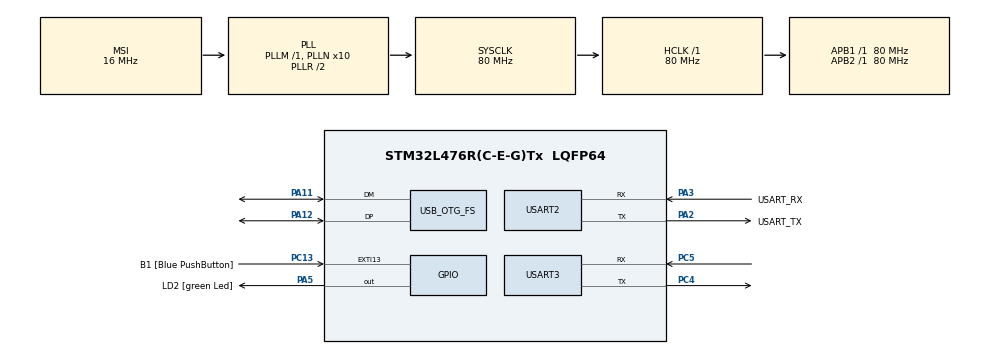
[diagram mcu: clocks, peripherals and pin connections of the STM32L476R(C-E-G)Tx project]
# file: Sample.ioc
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Mcu.Family=STM32L4
Mcu.Name=STM32L476R(C-E-G)Tx
Mcu.Package=LQFP64
NVIC.OTG_FS_IRQn=true\:0\:0\:false\:false\:true
NVIC.PriorityGroup=NVIC_PRIORITYGROUP_4
NVIC.USART3_IRQn=true\:0\:0\:false\:false\:true
PA11.Mode=Device_Only
PA11.Signal=USB_OTG_FS_DM
PA12.Mode=Device_Only
PA12.Signal=USB_OTG_FS_DP
PA13.GPIO_Label=TMS
PA13.Mode=Trace_Asynchronous_SW
PA13.Signal=SYS_JTMS-SWDIO
PA14.GPIO_Label=TCK
PA14.Mode=Trace_Asynchronous_SW
PA14.Signal=SYS_JTCK-SWCLK
PA2.GPIO_Label=USART_TX
PA2.GPIO_Mode=GPIO_MODE_AF_PP
PA2.GPIO_PuPd=GPIO_NOPULL
PA2.GPIO_Speed=GPIO_SPEED_FREQ_VERY_HIGH
PA2.Mode=Asynchronous
PA2.Signal=USART2_TX
PA3.GPIO_Label=USART_RX
PA3.GPIO_Mode=GPIO_MODE_AF_PP
PA3.GPIO_PuPd=GPIO_NOPULL
PA3.GPIO_Speed=GPIO_SPEED_FREQ_VERY_HIGH
PA3.Mode=Asynchronous
PA3.Signal=USART2_RX
PA5.GPIO_Label=LD2 [green Led]
PA5.GPIO_ModeDefaultOutputPP=GPIO_MODE_OUTPUT_PP
PA5.GPIO_PuPd=GPIO_NOPULL
PA5.GPIO_Speed=GPIO_SPEED_FREQ_LOW
PA5.Signal=GPIO_Output
PB3.GPIO_Label=SWO
PB3.Mode=Trace_Asynchronous_SW
PB3.Signal=SYS_JTDO-SWO
PC13.GPIO_Label=B1 [Blue PushButton]
PC13.GPIO_ModeDefaultEXTI=GPIO_MODE_IT_FALLING
PC13.GPIO_PuPd=GPIO_NOPULL
PC13.Signal=GPXTI13
PC14/OSC32_IN.Mode=LSE-External-Oscillator
PC14/OSC32_IN.Signal=RCC_OSC32_IN
PC15/OSC32_OUT.Mode=LSE-External-Oscillator
PC15/OSC32_OUT.Signal=RCC_OSC32_OUT
PC4.Mode=Asynchronous
PC4.Signal=USART3_TX
PC5.Mode=Asynchronous
PC5.Signal=USART3_RX
PH0/OSC_IN.Signal=RCC_OSC_IN
PH1/OSC_OUT.Signal=RCC_OSC_OUT
ProjectManager.HeapSize=0x800
ProjectManager.StackSize=0x800
ProjectManager.TargetToolchain=TrueSTUDIO
RCC.ADCFreq_Value=96000000
RCC.AHBFreq_Value=80000000
RCC.APB1Freq_Value=80000000
RCC.APB1TimFreq_Value=80000000
RCC.APB2Freq_Value=80000000
RCC.APB2TimFreq_Value=80000000
RCC.CortexFreq_Value=80000000
RCC.HCLKFreq_Value=80000000
RCC.HSE_VALUE=8000000
RCC.HSI_VALUE=16000000
RCC.MSIClockRange=RCC_MSIRANGE_8
RCC.MSI_VALUE=16000000
RCC.PLLN=10
RCC.PLLSAI1N=12
RCC.PLLSAI1Q=RCC_PLLQ_DIV4
RCC.PREFETCH_ENABLE=1
RCC.RTCClockSelection=RCC_RTCCLKSOURCE_LSE
RCC.SYSCLKFreq_VALUE=80000000
RCC.SYSCLKSource=RCC_SYSCLKSOURCE_PLLCLK
RCC.USBFreq_Value=48000000
RCC.VCOOutputFreq_Value=160000000
RTC.Format=RTC_FORMAT_BIN
USART2.WordLength=UART_WORDLENGTH_8B
USART3.WordLength=UART_WORDLENGTH_8B
USB_DEVICE.CLASS_NAME_FS=DFU
USB_DEVICE.VirtualModeFS=Dfu_FS
USB_OTG_FS.VirtualMode=Device_Only
USB_OTG_FS.vbus_sensing_enable=DISABLE
VP_RNG_VS_RNG.Mode=RNG_Activate
VP_RTC_VS_RTC_Activate.Mode=RTC_Enabled
VP_RTC_VS_RTC_Calendar.Mode=RTC_Calendar
VP_USB_DEVICE_VS_USB_DEVICE_DFU_FS.Mode=DFU_FS
board=NUCLEO-L476RG

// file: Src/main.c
/**
  ******************************************************************************
  * File Name          : main.c
  * Description        : Main program body
  ******************************************************************************
  *
  * Copyright (c) 2017 STMicroelectronics International N.V.
  * All rights reserved.
  *
  * Redistribution and use in source and binary forms, with or without
  * modification, are permitted, provided that the following conditions are met:
  *
  * 1. Redistribution of source code must retain the above copyright notice,
  *    this list of conditions and the following disclaimer.
  * 2. Redistributions in binary form must reproduce the above copyright notice,
  *    this list of conditions and the following disclaimer in the documentation
  *    and/or other materials provided with the distribution.
  * 3. Neither the name of STMicroelectronics nor the names of other
  *    contributors to this software may be used to endorse or promote products
  *    derived from this software without specific written permission.
  * 4. This software, including modifications and/or derivative works of this
  *    software, must execute solely and exclusively on microcontroller or
  *    microprocessor devices manufactured by or for STMicroelectronics.
  * 5. Redistribution and use of this software other than as permitted under
  *    this license is void and will automatically terminate your rights under
  *    this license.
  *
  * THIS SOFTWARE IS PROVIDED BY STMICROELECTRONICS AND CONTRIBUTORS "AS IS"
  * AND ANY EXPRESS, IMPLIED OR STATUTORY WARRANTIES, INCLUDING, BUT NOT
  * LIMITED TO, THE IMPLIED WARRANTIES OF MERCHANTABILITY, FITNESS FOR A
  * PARTICULAR PURPOSE AND NON-INFRINGEMENT OF THIRD PARTY INTELLECTUAL PROPERTY
  * RIGHTS ARE DISCLAIMED TO THE FULLEST EXTENT PERMITTED BY LAW. IN NO EVENT
  * SHALL STMICROELECTRONICS OR CONTRIBUTORS BE LIABLE FOR ANY DIRECT, INDIRECT,
  * INCIDENTAL, SPECIAL, EXEMPLARY, OR CONSEQUENTIAL DAMAGES (INCLUDING, BUT NOT
  * LIMITED TO, PROCUREMENT OF SUBSTITUTE GOODS OR SERVICES; LOSS OF USE, DATA,
  * OR PROFITS; OR BUSINESS INTERRUPTION) HOWEVER CAUSED AND ON ANY THEORY OF
  * LIABILITY, WHETHER IN CONTRACT, STRICT LIABILITY, OR TORT (INCLUDING
  * NEGLIGENCE OR OTHERWISE) ARISING IN ANY WAY OUT OF THE USE OF THIS SOFTWARE,
  * EVEN IF ADVISED OF THE POSSIBILITY OF SUCH DAMAGE.
  *
  ******************************************************************************
  */
#include "main.h"
#include "stm32l4xx_hal.h"
#include "usb_device.h"

/* USER CODE BEGIN Includes */
#include "socket.h"
#include "NTPClient.h"
#include "DiceCore.h"

/* USER CODE END Includes */

RNG_HandleTypeDef hrng;

RTC_HandleTypeDef hrtc;

UART_HandleTypeDef huart2;
UART_HandleTypeDef huart3;

/* USER CODE BEGIN PV */
/* Private variables ---------------------------------------------------------*/

/* USER CODE END PV */

void SystemClock_Config(void);
void Error_Handler(void);
static void MX_GPIO_Init(void);
static void MX_RNG_Init(void);
static void MX_RTC_Init(void);
static void MX_USART2_UART_Init(void);
static void MX_USART3_UART_Init(void);

/* USER CODE BEGIN PFP */
/* Private function prototypes -----------------------------------------------*/

/* USER CODE END PFP */

/* USER CODE BEGIN 0 */
#define CPU_CORE_FREQUENCY_HZ 800000000 /* CPU core frequency in Hz */
static void SWO_Init(uint32_t portBits, uint32_t cpuCoreFreqHz) {
//  uint32_t SWOSpeed = 4500000; /* default 2000k baud rate */
//  uint32_t SWOPrescaler = (cpuCoreFreqHz / SWOSpeed) - 1; /* SWOSpeed in Hz, note that cpuCoreFreqHz is expected to be match the CPU core clock */

  CoreDebug->DEMCR = CoreDebug_DEMCR_TRCENA_Msk; /* enable trace in core debug */
//  *((volatile unsigned *)(ITM_BASE + 0x400F0)) = 0x00000002; /* "Selected PIN Protocol Register": Select which protocol to use for trace output (2: SWO NRZ, 1: SWO Manchester encoding) */
//  *((volatile unsigned *)(ITM_BASE + 0x40010)) = SWOPrescaler; /* "Async Clock Prescaler Register". Scale the baud rate of the asynchronous output */
//  *((volatile unsigned *)(ITM_BASE + 0x00FB0)) = 0xC5ACCE55; /* ITM Lock Access Register, C5ACCE55 enables more write access to Control Register 0xE00 :: 0xFFC */
  ITM->TCR = ITM_TCR_TraceBusID_Msk | ITM_TCR_SWOENA_Msk | ITM_TCR_SYNCENA_Msk | ITM_TCR_ITMENA_Msk; /* ITM Trace Control Register */
  ITM->TPR = ITM_TPR_PRIVMASK_Msk; /* ITM Trace Privilege Register */
  ITM->TER = portBits; /* ITM Trace Enable Register. Enabled tracing on stimulus ports. One bit per stimulus port. */
  *((volatile unsigned *)(ITM_BASE + 0x01000)) = 0x400003FE; /* DWT_CTRL */
  *((volatile unsigned *)(ITM_BASE + 0x40304)) = 0x00000100; /* Formatter and Flush Control Register */
}

char* GetWifiResponse(FILE* wifiRd, char* response, uint32_t responseSize, uint32_t* responseLen, char* terminator, uint32_t timeout)
{
    fpos_t wifiRdPtr = 0;
    uint32_t deadline = HAL_GetTick() + timeout;
    char* result = NULL;
    uint32_t terminatorLen = strlen(terminator);
    if(responseSize < terminatorLen + 1) return NULL;
    *responseLen = 0;
    memset(response, 0x00, responseSize);

    do
    {
        if(fgets(&response[*responseLen], responseSize - *responseLen, wifiRd) == NULL)
        {
            fsetpos(wifiRd, &wifiRdPtr);
        }
        else
        {
            *responseLen = strlen(response);
        }

        //Exit criteria
        if((*responseLen >= terminatorLen) &&
           (!strcmp(&response[*responseLen - terminatorLen], terminator)))
        {
//            fprintf(stderr, "GetWifiResponse() found terminator.\r\n");
            result = response;
            break;
        }

        if(deadline <= HAL_GetTick())
        {
//            fprintf(stderr, "GetWifiResponse() timeout.\r\n");
            break;
        }

        if(*responseLen + 1 >= responseSize)
        {
//            fprintf(stderr, "GetWifiResponse() out of space.\r\n");
            break;
        }
    }
    while(1);

    return result;
}

/* USER CODE END 0 */

int main(void)
{

  /* USER CODE BEGIN 1 */
//  HAL_StatusTypeDef result;
  FILE* wifiWr = NULL;
  FILE* wifiRd = NULL;
  fpos_t wifiRdPtr = 0;
  char wifiRdBuf[2048] = {0};
  uint32_t wifiRdLen = 0;

  /* USER CODE END 1 */

  /* MCU Configuration----------------------------------------------------------*/

  /* Reset of all peripherals, Initializes the Flash interface and the Systick. */
  HAL_Init();

  /* Configure the system clock */
  SystemClock_Config();

  /* Initialize all configured peripherals */
  MX_GPIO_Init();
  MX_RNG_Init();
  MX_RTC_Init();
  MX_USART2_UART_Init();
  MX_USART3_UART_Init();
  MX_USB_DEVICE_Init();

  /* USER CODE BEGIN 2 */
  SWO_Init(0x1, CPU_CORE_FREQUENCY_HZ);
  wifiWr = fopen("wifi", "wb");
  wifiRd = fopen("wifi", "rb");

  printf("==========================\r\n");
  printf("    DICE APP: Sample! \r\n");
  printf("==========================\r\n");
#ifdef NDEBUG
  printf("DICE Certificate Bag(%lu):\r\n%s\r\n", DICERAMAREA->info.certBagLen, DICERAMAREA->info.certBag);
#endif

  fprintf(wifiWr, "ATE0\r\n");
  if(GetWifiResponse(wifiRd, wifiRdBuf, sizeof(wifiRdBuf), &wifiRdLen, "OK\r\n", 1000) != NULL)
  {
      printf("(%03d)\r\n%s", wifiRdLen, wifiRdBuf);
  }

  fprintf(wifiWr, "AT+CWLAP\r\n");
  if(GetWifiResponse(wifiRd, wifiRdBuf, sizeof(wifiRdBuf), &wifiRdLen, "OK\r\n", 10000) != NULL)
  {
      printf("(%03d)\r\n%s", wifiRdLen, wifiRdBuf);
  }
/*
  do
  {
      if(fgets(wifiRdBuf, sizeof(wifiRdBuf), wifiRd) != NULL)
      {
          if(strcmp(wifiRdBuf, "AT+CWLAP\r\n") && strcmp(wifiRdBuf, "\r\n") && strcmp(wifiRdBuf, "OK\r\n"))
          {
              printf("%s", wifiRdBuf);
          }
      }
      else
      {
          fsetpos(wifiRd, &wifiRdPtr);
      }
  }
  while(strcmp(wifiRdBuf, "OK\r\n"));
*/
  /* USER CODE END 2 */

  /* Infinite loop */
  while (1)
  {

  /* USER CODE BEGIN 3 */
      fprintf(stdout, "Hello stdio\r\n");
      fprintf(stderr, "Hello stderr\r\n");
      HAL_Delay(1000);
  }
  /* USER CODE END 3 */

}

/** System Clock Configuration
*/
void SystemClock_Config(void)
{

  RCC_OscInitTypeDef RCC_OscInitStruct;
  RCC_ClkInitTypeDef RCC_ClkInitStruct;
  RCC_PeriphCLKInitTypeDef PeriphClkInit;

    /**Initializes the CPU, AHB and APB busses clocks
    */
  RCC_OscInitStruct.OscillatorType = RCC_OSCILLATORTYPE_LSE|RCC_OSCILLATORTYPE_MSI;
  RCC_OscInitStruct.LSEState = RCC_LSE_ON;
  RCC_OscInitStruct.MSIState = RCC_MSI_ON;
  RCC_OscInitStruct.MSICalibrationValue = 0;
  RCC_OscInitStruct.MSIClockRange = RCC_MSIRANGE_8;
  RCC_OscInitStruct.PLL.PLLState = RCC_PLL_ON;
  RCC_OscInitStruct.PLL.PLLSource = RCC_PLLSOURCE_MSI;
  RCC_OscInitStruct.PLL.PLLM = 1;
  RCC_OscInitStruct.PLL.PLLN = 10;
  RCC_OscInitStruct.PLL.PLLP = RCC_PLLP_DIV7;
  RCC_OscInitStruct.PLL.PLLQ = RCC_PLLQ_DIV2;
  RCC_OscInitStruct.PLL.PLLR = RCC_PLLR_DIV2;
  if (HAL_RCC_OscConfig(&RCC_OscInitStruct) != HAL_OK)
  {
    Error_Handler();
  }

    /**Initializes the CPU, AHB and APB busses clocks
    */
  RCC_ClkInitStruct.ClockType = RCC_CLOCKTYPE_HCLK|RCC_CLOCKTYPE_SYSCLK
                              |RCC_CLOCKTYPE_PCLK1|RCC_CLOCKTYPE_PCLK2;
  RCC_ClkInitStruct.SYSCLKSource = RCC_SYSCLKSOURCE_PLLCLK;
  RCC_ClkInitStruct.AHBCLKDivider = RCC_SYSCLK_DIV1;
  RCC_ClkInitStruct.APB1CLKDivider = RCC_HCLK_DIV1;
  RCC_ClkInitStruct.APB2CLKDivider = RCC_HCLK_DIV1;

  if (HAL_RCC_ClockConfig(&RCC_ClkInitStruct, FLASH_LATENCY_4) != HAL_OK)
  {
    Error_Handler();
  }

  PeriphClkInit.PeriphClockSelection = RCC_PERIPHCLK_RTC|RCC_PERIPHCLK_USART2
                              |RCC_PERIPHCLK_USART3|RCC_PERIPHCLK_USB
                              |RCC_PERIPHCLK_RNG;
  PeriphClkInit.Usart2ClockSelection = RCC_USART2CLKSOURCE_PCLK1;
  PeriphClkInit.Usart3ClockSelection = RCC_USART3CLKSOURCE_PCLK1;
  PeriphClkInit.RTCClockSelection = RCC_RTCCLKSOURCE_LSE;
  PeriphClkInit.UsbClockSelection = RCC_USBCLKSOURCE_PLLSAI1;
  PeriphClkInit.RngClockSelection = RCC_RNGCLKSOURCE_PLLSAI1;
  PeriphClkInit.PLLSAI1.PLLSAI1Source = RCC_PLLSOURCE_MSI;
  PeriphClkInit.PLLSAI1.PLLSAI1M = 1;
  PeriphClkInit.PLLSAI1.PLLSAI1N = 12;
  PeriphClkInit.PLLSAI1.PLLSAI1P = RCC_PLLP_DIV7;
  PeriphClkInit.PLLSAI1.PLLSAI1Q = RCC_PLLQ_DIV4;
  PeriphClkInit.PLLSAI1.PLLSAI1R = RCC_PLLR_DIV2;
  PeriphClkInit.PLLSAI1.PLLSAI1ClockOut = RCC_PLLSAI1_48M2CLK;
  if (HAL_RCCEx_PeriphCLKConfig(&PeriphClkInit) != HAL_OK)
  {
    Error_Handler();
  }

    /**Configure LSE Drive Capability
    */
  __HAL_RCC_LSEDRIVE_CONFIG(RCC_LSEDRIVE_LOW);

    /**Configure the main internal regulator output voltage
    */
  if (HAL_PWREx_ControlVoltageScaling(PWR_REGULATOR_VOLTAGE_SCALE1) != HAL_OK)
  {
    Error_Handler();
  }

    /**Configure the Systick interrupt time
    */
  HAL_SYSTICK_Config(HAL_RCC_GetHCLKFreq()/1000);

    /**Configure the Systick
    */
  HAL_SYSTICK_CLKSourceConfig(SYSTICK_CLKSOURCE_HCLK);

    /**Enable MSI Auto calibration
    */
  HAL_RCCEx_EnableMSIPLLMode();

  /* SysTick_IRQn interrupt configuration */
  HAL_NVIC_SetPriority(SysTick_IRQn, 0, 0);
}

/* RNG init function */
static void MX_RNG_Init(void)
{

  hrng.Instance = RNG;
  if (HAL_RNG_Init(&hrng) != HAL_OK)
  {
    Error_Handler();
  }

}

/* RTC init function */
static void MX_RTC_Init(void)
{

  RTC_TimeTypeDef sTime;
  RTC_DateTypeDef sDate;

    /**Initialize RTC Only
    */
  hrtc.Instance = RTC;
  hrtc.Init.HourFormat = RTC_HOURFORMAT_24;
  hrtc.Init.AsynchPrediv = 127;
  hrtc.Init.SynchPrediv = 255;
  hrtc.Init.OutPut = RTC_OUTPUT_DISABLE;
  hrtc.Init.OutPutRemap = RTC_OUTPUT_REMAP_NONE;
  hrtc.Init.OutPutPolarity = RTC_OUTPUT_POLARITY_HIGH;
  hrtc.Init.OutPutType = RTC_OUTPUT_TYPE_OPENDRAIN;
  if (HAL_RTC_Init(&hrtc) != HAL_OK)
  {
    Error_Handler();
  }

    /**Initialize RTC and set the Time and Date
    */
  sTime.Hours = 0;
  sTime.Minutes = 0;
  sTime.Seconds = 0;
  sTime.DayLightSaving = RTC_DAYLIGHTSAVING_NONE;
  sTime.StoreOperation = RTC_STOREOPERATION_RESET;
  if (HAL_RTC_SetTime(&hrtc, &sTime, RTC_FORMAT_BIN) != HAL_OK)
  {
    Error_Handler();
  }

  sDate.WeekDay = RTC_WEEKDAY_MONDAY;
  sDate.Month = RTC_MONTH_JANUARY;
  sDate.Date = 1;
  sDate.Year = 0;

  if (HAL_RTC_SetDate(&hrtc, &sDate, RTC_FORMAT_BIN) != HAL_OK)
  {
    Error_Handler();
  }

}

/* USART2 init function */
static void MX_USART2_UART_Init(void)
{

  huart2.Instance = USART2;
  huart2.Init.BaudRate = 115200;
  huart2.Init.WordLength = UART_WORDLENGTH_8B;
  huart2.Init.StopBits = UART_STOPBITS_1;
  huart2.Init.Parity = UART_PARITY_NONE;
  huart2.Init.Mode = UART_MODE_TX_RX;
  huart2.Init.HwFlowCtl = UART_HWCONTROL_NONE;
  huart2.Init.OverSampling = UART_OVERSAMPLING_16;
  huart2.Init.OneBitSampling = UART_ONE_BIT_SAMPLE_DISABLE;
  huart2.AdvancedInit.AdvFeatureInit = UART_ADVFEATURE_NO_INIT;
  if (HAL_UART_Init(&huart2) != HAL_OK)
  {
    Error_Handler();
  }

}

/* USART3 init function */
static void MX_USART3_UART_Init(void)
{

  huart3.Instance = USART3;
  huart3.Init.BaudRate = 115200;
  huart3.Init.WordLength = UART_WORDLENGTH_8B;
  huart3.Init.StopBits = UART_STOPBITS_1;
  huart3.Init.Parity = UART_PARITY_NONE;
  huart3.Init.Mode = UART_MODE_TX_RX;
  huart3.Init.HwFlowCtl = UART_HWCONTROL_NONE;
  huart3.Init.OverSampling = UART_OVERSAMPLING_16;
  huart3.Init.OneBitSampling = UART_ONE_BIT_SAMPLE_DISABLE;
  huart3.AdvancedInit.AdvFeatureInit = UART_ADVFEATURE_NO_INIT;
  if (HAL_UART_Init(&huart3) != HAL_OK)
  {
    Error_Handler();
  }

}

/** Configure pins as
        * Analog
        * Input
        * Output
        * EVENT_OUT
        * EXTI
*/
static void MX_GPIO_Init(void)
{

  GPIO_InitTypeDef GPIO_InitStruct;

  /* GPIO Ports Clock Enable */
  __HAL_RCC_GPIOC_CLK_ENABLE();
  __HAL_RCC_GPIOH_CLK_ENABLE();
  __HAL_RCC_GPIOA_CLK_ENABLE();
  __HAL_RCC_GPIOB_CLK_ENABLE();

  /*Configure GPIO pin Output Level */
  HAL_GPIO_WritePin(LD2_GPIO_Port, LD2_Pin, GPIO_PIN_RESET);

  /*Configure GPIO pin : B1_Pin */
  GPIO_InitStruct.Pin = B1_Pin;
  GPIO_InitStruct.Mode = GPIO_MODE_IT_FALLING;
  GPIO_InitStruct.Pull = GPIO_NOPULL;
  HAL_GPIO_Init(B1_GPIO_Port, &GPIO_InitStruct);

  /*Configure GPIO pin : LD2_Pin */
  GPIO_InitStruct.Pin = LD2_Pin;
  GPIO_InitStruct.Mode = GPIO_MODE_OUTPUT_PP;
  GPIO_InitStruct.Pull = GPIO_NOPULL;
  GPIO_InitStruct.Speed = GPIO_SPEED_FREQ_LOW;
  HAL_GPIO_Init(LD2_GPIO_Port, &GPIO_InitStruct);

}

void Error_Handler(void)
{
  while(1)
  {
  }
}

/************************ (C) COPYRIGHT STMicroelectronics *****END OF FILE****/
